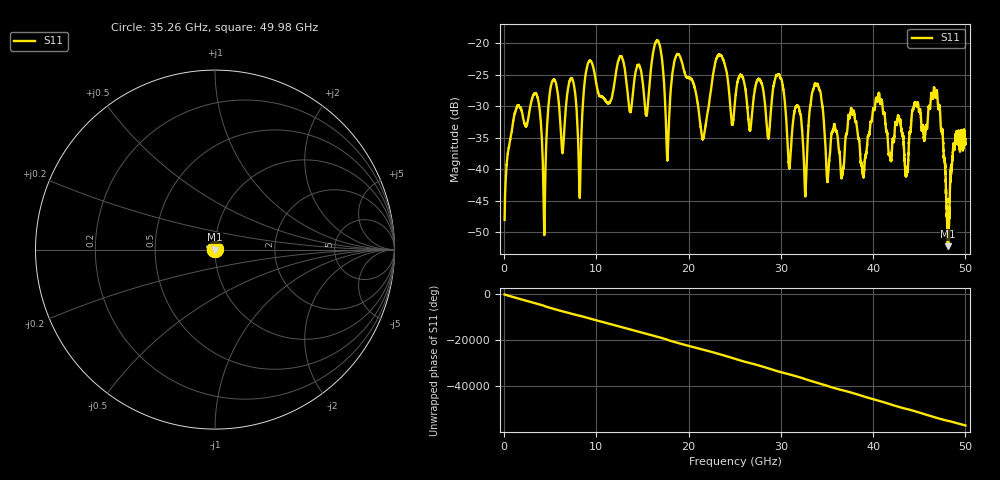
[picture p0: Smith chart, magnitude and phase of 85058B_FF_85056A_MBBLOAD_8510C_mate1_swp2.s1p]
!Created with skrf (http://scikit-rf.org).
# Hz S RI R 50.0
!freq ReS11 ImS11
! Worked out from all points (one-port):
!   10001 points, 45 MHz to 50 GHz, reference 50 ohm
!   lowest |S11| = -52.2 dB at 48.13 GHz (marker M1), VSWR 1.00, Z = 49.8 + j0.0547 ohm
!   |S11| at or under -10 dB: start of sweep to end of sweep
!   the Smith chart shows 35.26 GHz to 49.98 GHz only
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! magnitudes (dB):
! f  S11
! 45 MHz  -48.0
! 1.439 GHz  -29.9
! 3.537 GHz  -28.2
! 4.326 GHz  -49.4
! 5.23 GHz  -26.0
! 6.289 GHz  -37.2
! 7.199 GHz  -25.6
! 8.183 GHz  -44.5
! 9.117 GHz  -23.1
! 12.53 GHz  -22.1
! 15.42 GHz  -31.5
! 16.7 GHz  -19.6
! 17.7 GHz  -38.5
! 18.78 GHz  -21.7
! 21.53 GHz  -35.2
! 23.22 GHz  -21.8
! 25.02 GHz  -29.3
! 28.64 GHz  -35.1
! 29.7 GHz  -24.9
! 31.27 GHz  -33.1
! 32.66 GHz  -44.2
! 33.88 GHz  -26.5
! 36.65 GHz  -40.8
! 37.51 GHz  -31.4
! 43.76 GHz  -39.9
! 46.75 GHz  -28.6
! 48.13 GHz  -52.2
! 50 GHz  -35.8
